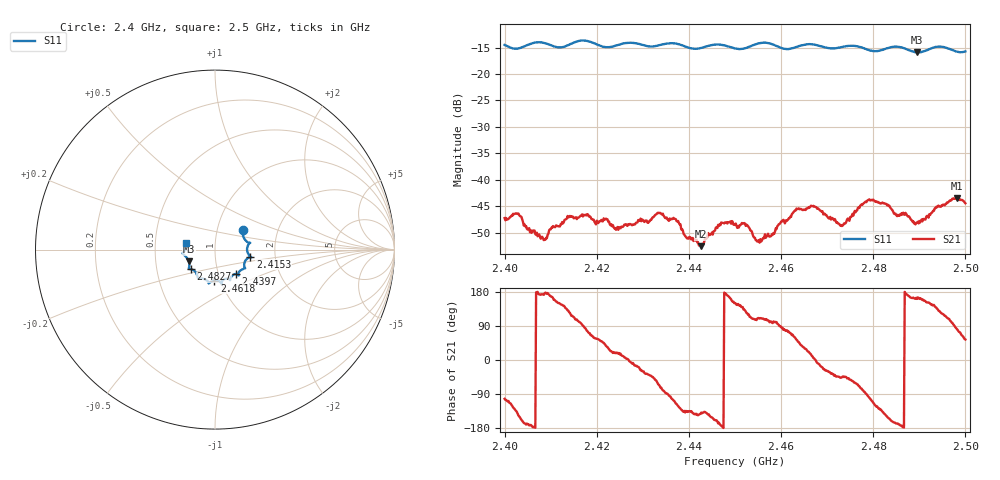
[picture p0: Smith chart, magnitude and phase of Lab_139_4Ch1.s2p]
# Hz S RI R 50
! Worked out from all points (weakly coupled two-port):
!   601 points, 2.4 GHz to 2.5 GHz, reference 50 ohm
!   highest |S21| = -43.43 dB at 2.4982 GHz (marker M1); lowest = -52.5 dB at 2.4427 GHz (marker M2)
!   lowest |S11| = -15.9 dB at 2.4895 GHz (marker M3), VSWR 1.38, Z = 37 - j5 ohm
!   |S11| at or under -10 dB: start of sweep to end of sweep
!   S12 and S22 are empty: the file has one direction only
!   S11 on the Smith chart (normalised r, x): 2.4 GHz: 1.33, +0.29; 2.4153 GHz: 1.48, -0.12; 2.4397 GHz: 1.21, -0.34; 2.4618 GHz: 0.94, -0.33; 2.4827 GHz: 0.75, -0.17; 2.5 GHz: 0.72, +0.06
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2.4e9  0.1552 0.1069  -0.000946 -0.00425  0 0  0 0
2.403e9  0.1643 0.0595  -0.00401 -0.00264  0 0  0 0
2.408667e9  0.1933 0.0363  -0.00271 0.000229  0 0  0 0
2.415333e9  0.1968 -0.0391  -0.00128 0.00416  0 0  0 0
2.416667e9  0.2029 -0.0434  -0.000448 0.00456  0 0  0 0
2.424333e9  0.1631 -0.0912  0.00328 0.00107  0 0  0 0
2.433333e9  0.1298 -0.1339  0.00214 -0.00439  0 0  0 0
2.437167e9  0.1312 -0.1431  -0.00179 -0.00385  0 0  0 0
2.439667e9  0.1167 -0.1358  -0.00204 -0.00189  0 0  0 0
2.442667e9  0.0907 -0.1513  -0.00178 -0.00155  0 0  0 0
2.446833e9  0.0844 -0.1696  -0.00368 -0.000557  0 0  0 0
2.45e9  0.0655 -0.162  -0.00325 0.00184  0 0  0 0
2.455333e9  0.0371 -0.1923  -0.000847 0.0024  0 0  0 0
2.461833e9  -0.00317 -0.173  0.00136 0.00411  0 0  0 0
2.466667e9  -0.035 -0.1882  0.00554 0.00108  0 0  0 0
2.473e9  -0.0809 -0.1599  0.00256 -0.00272  0 0  0 0
2.478667e9  -0.1016 -0.1373  -0.000211 -0.00633  0 0  0 0
2.482667e9  -0.135 -0.1086  -0.00487 -0.0034  0 0  0 0
2.483333e9  -0.1401 -0.1082  -0.00507 -0.00251  0 0  0 0
2.4895e9  -0.1458 -0.0658  -0.00374 0.00127  0 0  0 0
2.498167e9  -0.1626 0.00706  0.000993 0.00666  0 0  0 0
2.5e9  -0.1591 0.0383  0.00353 0.00485  0 0  0 0
